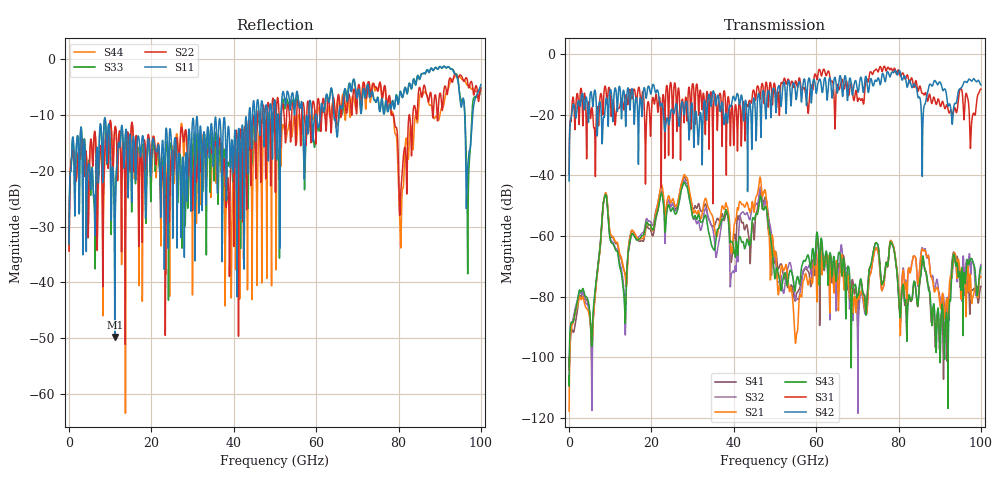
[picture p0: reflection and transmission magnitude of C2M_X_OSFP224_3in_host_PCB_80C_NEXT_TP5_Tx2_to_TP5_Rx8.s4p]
# GHz S RI R 45
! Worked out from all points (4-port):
!   4000 points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, 25 MHz to 100 GHz, reference 45 ohm
!   strongest paths, dB at 25 MHz, 25.02 GHz, 50.02 GHz, 75.03 GHz, 100 GHz:
!     S42: -41.8, -18.2, -13.8, -7.8, -10.2
!     S31: -39.7, -15.6, -10.6, -5.9, -11.5
!     S43: -106.2, -51.1, -74.1, -63.2, -70.3
!     S21: -117.8, -48.2, -65.1, -65.3, -73.5
!     S32: -104.2, -49.5, -68.0, -65.3, -69.4
!     S41: -100.2, -49.6, -66.6, -63.2, -76.7
!   lowest |S11| = -49.8 dB at 11.1 GHz (marker M1), VSWR 1.01, Z = 44.9 + j0.285 ohm
!   |S11| at or under -10 dB: start of sweep to 43.7 GHz; 56.74 GHz to 58.18 GHz (1.445 GHz wide, 2.51 % of centre); 96.08 GHz to 98 GHz (1.925 GHz wide, 1.98 % of centre) (the widest 3 of 14)
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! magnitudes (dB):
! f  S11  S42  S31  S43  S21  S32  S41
! 25 MHz  -33.1  -41.8  -39.7  -106.2  -117.8  -104.2  -100.2
! 11.1 GHz  -49.8  -11.5  -21.6  -64.0  -61.5  -63.5  -61.9
! 28.15 GHz  -21.1  -18.1  -16.6  -42.7  -40.0  -41.9  -40.8
! 39.6 GHz  -14.7  -15.4  -17.0  -62.0  -64.5  -72.1  -66.6
! 46.38 GHz  -13.4  -16.4  -14.9  -47.3  -40.6  -44.2  -44.7
! 54.7 GHz  -9.8  -9.9  -10.7  -77.4  -89.6  -78.1  -80.7
! 100 GHz  -4.5  -10.2  -11.5  -70.3  -73.5  -69.4  -76.7
